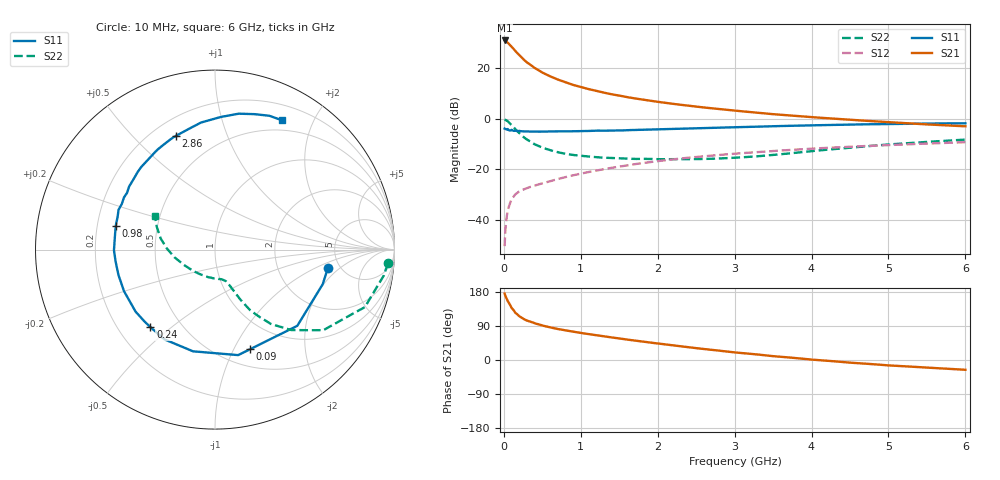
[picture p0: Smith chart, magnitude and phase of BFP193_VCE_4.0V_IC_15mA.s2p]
! Infineon Technologies  Discrete & RF Semiconductors
! BFP193
! VCE = 4.0 V,  IC =  15 mA
! Common Emitter S-Parameters:  Jan 2016
# GHz  S  MA  R  50
!  f  S11  S21  S12  S22
! GHz  MAG  ANG  MAG  ANG  MAG  ANG  MAG  ANG
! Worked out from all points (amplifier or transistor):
!   210 points, 10 MHz to 6 GHz, reference 50 ohm
!   highest |S21| = 31.0 dB at 10 MHz (marker M1)
!   |S21| within 3 dB of that: start of sweep to 116.9 MHz
!   unconditionally stable (mu >= 1): 876.8 MHz to 3.799 GHz
!   at 185 MHz: K = 0.41, MSG = 27.4 dB, |S12| = -29.1 dB
!   at 1.52 GHz: K = 1.08, MAG = 12.2 dB, |S12| = -18.8 dB
!   at 6 GHz: K = 0.92, MSG = 3.1 dB, |S12| = -9.3 dB
!   S11 on the Smith chart (normalised r, x): 10 MHz: 3.99, -1.40; 90 MHz: 0.68, -1.16; 240 MHz: 0.34, -0.42; 980 MHz: 0.28, +0.11; 2.86 GHz: 0.29, +0.67; 6 GHz: 0.38, +1.58
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0.01  0.6369 -9.4  35.38 175.4  0.003 88.1  0.9662 -4.5
0.02  0.6305 -17.8  34.45 169.2  0.0063 82.4  0.9517 -8.7
0.05  0.6249 -42.8  32.16 155.8  0.0151 72.7  0.8943 -21.0
0.09  0.5885 -70.6  27.7 141.8  0.0233 61.7  0.7751 -33.1
0.1  0.6019 -77.6  26.89 137.7  0.0254 60.1  0.7518 -36.7
0.15  0.5798 -102.2  21.82 124.5  0.0319 52.2  0.6167 -46.6
0.2  0.574 -119.4  18.12 115.7  0.0363 48.5  0.518 -53.1
0.24  0.5624 -129.8  15.73 110.4  0.0388 47.7  0.4557 -56.2
0.26  0.561 -134.4  14.73 108.0  0.04 47.4  0.4297 -57.6
0.3  0.5614 -142.0  13.04 104.0  0.0423 47.0  0.3874 -60.0
0.4  0.5574 -155.5  10.12 96.8  0.0475 47.6  0.3119 -63.1
0.5  0.5562 -165.4  8.188 91.0  0.0525 49.0  0.267 -64.7
0.7  0.563 -179.6  5.972 81.8  0.0638 51.6  0.217 -67.5
0.98  0.568 166.6  4.314 72.1  0.0803 53.4  0.186 -71.1
1.02  0.5696 164.9  4.153 70.8  0.0827 53.5  0.1834 -71.8
1.4  0.5846 150.1  3.045 59.6  0.1065 53.2  0.1671 -79.8
2.02  0.6179 131.0  2.139 43.1  0.1459 49.0  0.1579 -97.7
2.86  0.67 109.1  1.522 23.3  0.1952 40.8  0.1647 -129.4
3.1  0.6827 104.0  1.4 18.3  0.2082 38.3  0.1722 -138.7
4.1  0.7441 86.1  1.048 -0.4  0.2603 27.7  0.236 -171.8
5.1  0.789 72.6  0.839 -15.3  0.3049 17.1  0.3161 166.3
6  0.8116 62.5  0.707 -25.8  0.3428 7.5  0.3859 150.6
